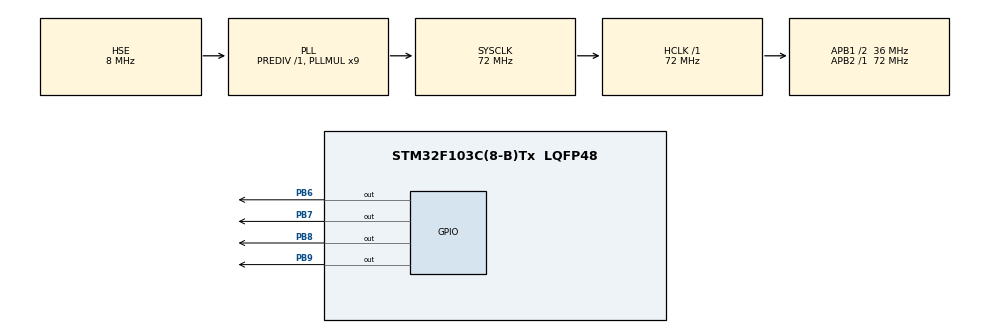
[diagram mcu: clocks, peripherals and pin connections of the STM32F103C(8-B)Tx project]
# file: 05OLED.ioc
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Dma.MEMTOMEM.0.Direction=DMA_MEMORY_TO_MEMORY
Dma.MEMTOMEM.0.Instance=DMA1_Channel1
Dma.MEMTOMEM.0.MemDataAlignment=DMA_MDATAALIGN_BYTE
Dma.MEMTOMEM.0.MemInc=DMA_MINC_ENABLE
Dma.MEMTOMEM.0.Mode=DMA_NORMAL
Dma.MEMTOMEM.0.PeriphDataAlignment=DMA_PDATAALIGN_BYTE
Dma.MEMTOMEM.0.PeriphInc=DMA_PINC_ENABLE
Dma.MEMTOMEM.0.Priority=DMA_PRIORITY_LOW
Dma.Request0=MEMTOMEM
Mcu.Family=STM32F1
Mcu.Name=STM32F103C(8-B)Tx
Mcu.Package=LQFP48
NVIC.PriorityGroup=NVIC_PRIORITYGROUP_4
PA13.Mode=Serial_Wire
PA13.Signal=SYS_JTMS-SWDIO
PA14.Mode=Serial_Wire
PA14.Signal=SYS_JTCK-SWCLK
PB6.Signal=GPIO_Output
PB7.PinState=GPIO_PIN_SET
PB7.Signal=GPIO_Output
PB8.GPIO_ModeDefaultOutputPP=GPIO_MODE_OUTPUT_OD
PB8.GPIO_PuPd=GPIO_PULLUP
PB8.PinState=GPIO_PIN_SET
PB8.Signal=GPIO_Output
PB9.GPIO_ModeDefaultOutputPP=GPIO_MODE_OUTPUT_OD
PB9.GPIO_PuPd=GPIO_PULLUP
PB9.PinState=GPIO_PIN_SET
PB9.Signal=GPIO_Output
PD0-OSC_IN.Mode=HSE-External-Oscillator
PD0-OSC_IN.Signal=RCC_OSC_IN
PD1-OSC_OUT.Mode=HSE-External-Oscillator
PD1-OSC_OUT.Signal=RCC_OSC_OUT
ProjectManager.HeapSize=0x200
ProjectManager.StackSize=0x400
ProjectManager.TargetToolchain=MDK-ARM V5.32
RCC.AHBFreq_Value=72000000
RCC.APB1CLKDivider=RCC_HCLK_DIV2
RCC.APB1Freq_Value=36000000
RCC.APB1TimFreq_Value=72000000
RCC.APB2Freq_Value=72000000
RCC.APB2TimFreq_Value=72000000
RCC.HCLKFreq_Value=72000000
RCC.PLLMUL=RCC_PLL_MUL9
RCC.PLLSourceVirtual=RCC_PLLSOURCE_HSE
RCC.SYSCLKFreq_VALUE=72000000
RCC.SYSCLKSource=RCC_SYSCLKSOURCE_PLLCLK
RCC.USBFreq_Value=72000000
board=custom

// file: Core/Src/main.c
/* USER CODE BEGIN Header */
/*
不建议使用DMA的循环模式来进行内存到内存间数据的转换,
因为 DMA 的“搬运速度”和 CPU 的“处理速度”差了几个数量级
你的 CPU 每秒才加一次数据 (HAL_Delay(1000))。
如果 DMA 真的能循环搬运，它在一秒内能把这 4 个字节搬运几百万次。
后果：这会导致 DMA 始终霸占着总线，CPU 想要读取 DataA 进行 i++ 或者 OLED 想要读取数据时，都会因为总线被 DMA 占用而发生阻塞（卡死）
所以最好的做法是：在数据更新后，手动触发一次 DMA 搬运（Normal 模式）。
*/
/**
  ******************************************************************************
  * @file           : main.c
  * @brief          : Main program body
  ******************************************************************************
  * @attention
  *
  * Copyright (c) 2025 STMicroelectronics.
  * All rights reserved.
  *
  * This software is licensed under terms that can be found in the LICENSE file
  * in the root directory of this software component.
  * If no LICENSE file comes with this software, it is provided AS-IS.
  *
  ******************************************************************************
  */
/* USER CODE END Header */
#include "main.h"
#include "dma.h"
#include "gpio.h"

/* USER CODE BEGIN Includes */
// ���OLEDͷ�ļ�
#include "OLED.h"

/* USER CODE END Includes */

void SystemClock_Config(void);

int main(void)
{

  /* MCU Configuration--------------------------------------------------------*/

  /* Reset of all peripherals, Initializes the Flash interface and the Systick. */
  HAL_Init();

  /* Configure the system clock */
  SystemClock_Config();

  /* Initialize all configured peripherals */
  MX_GPIO_Init();
  MX_DMA_Init();
  /* USER CODE BEGIN 2 */
  OLED_Init();
	OLED_Clear();
	uint8_t DataA[] = {0x01,0x02,0x03,0x04};
	uint8_t DataB[] = {0,0,0,0};
  /* USER CODE END 2 */

  /* Infinite loop */
  /* USER CODE BEGIN WHILE */
	/*将 DMA 设置为循环模式*/
	hdma_memtomem_dma1_channel1.Init.Mode = DMA_CIRCULAR;
	HAL_DMA_Init(&hdma_memtomem_dma1_channel1);
	/**
	 * @brief  启动 DMA 传输函数
	 * @param  &hdma_memtomem_dma1_channel1     DMA 句柄指针
	 * @param  (uint32_t)DataA  源地址（内存地址或外设寄存器地址）
	 * @param  (uint32_t)DataB   目的地址（内存地址或外设寄存器地址）
	 * @param  4     要传输的数据量
	 */
	HAL_DMA_Start(&hdma_memtomem_dma1_channel1, (uint32_t)DataA, (uint32_t)DataB, 4);

  while (1)
  {
		for(uint16_t i=0;i<4;i++)
		{
			DataA[i]++;
		}
		/*
		i 和 j 的作用域仅限于它们各自的 {} 内部，出了大括号就“消失”了。
		我的理解是：相当于函数的局部变量只在其函数内有效
		*/
		for(uint16_t i=0;i<4;i++)
		{
			OLED_ShowHexNum(1, 1+3*i, DataA[i], 2);
		}

		for(uint16_t j=0;j<4;j++)
		{
			OLED_ShowHexNum(3, 1+3*j, DataB[j], 2);
		}
		HAL_Delay(1000);

    /* USER CODE END WHILE */

  }
}

void SystemClock_Config(void)
{
  RCC_OscInitTypeDef RCC_OscInitStruct = {0};
  RCC_ClkInitTypeDef RCC_ClkInitStruct = {0};

  /** Initializes the RCC Oscillators according to the specified parameters
  * in the RCC_OscInitTypeDef structure.
  */
  RCC_OscInitStruct.OscillatorType = RCC_OSCILLATORTYPE_HSE;
  RCC_OscInitStruct.HSEState = RCC_HSE_ON;
  RCC_OscInitStruct.HSEPredivValue = RCC_HSE_PREDIV_DIV1;
  RCC_OscInitStruct.HSIState = RCC_HSI_ON;
  RCC_OscInitStruct.PLL.PLLState = RCC_PLL_ON;
  RCC_OscInitStruct.PLL.PLLSource = RCC_PLLSOURCE_HSE;
  RCC_OscInitStruct.PLL.PLLMUL = RCC_PLL_MUL9;
  if (HAL_RCC_OscConfig(&RCC_OscInitStruct) != HAL_OK)
  {
    Error_Handler();
  }

  /** Initializes the CPU, AHB and APB buses clocks
  */
  RCC_ClkInitStruct.ClockType = RCC_CLOCKTYPE_HCLK|RCC_CLOCKTYPE_SYSCLK
                              |RCC_CLOCKTYPE_PCLK1|RCC_CLOCKTYPE_PCLK2;
  RCC_ClkInitStruct.SYSCLKSource = RCC_SYSCLKSOURCE_PLLCLK;
  RCC_ClkInitStruct.AHBCLKDivider = RCC_SYSCLK_DIV1;
  RCC_ClkInitStruct.APB1CLKDivider = RCC_HCLK_DIV2;
  RCC_ClkInitStruct.APB2CLKDivider = RCC_HCLK_DIV1;

  if (HAL_RCC_ClockConfig(&RCC_ClkInitStruct, FLASH_LATENCY_2) != HAL_OK)
  {
    Error_Handler();
  }
}

void Error_Handler(void)
{
  __disable_irq();
  while (1)
  {
  }
}
